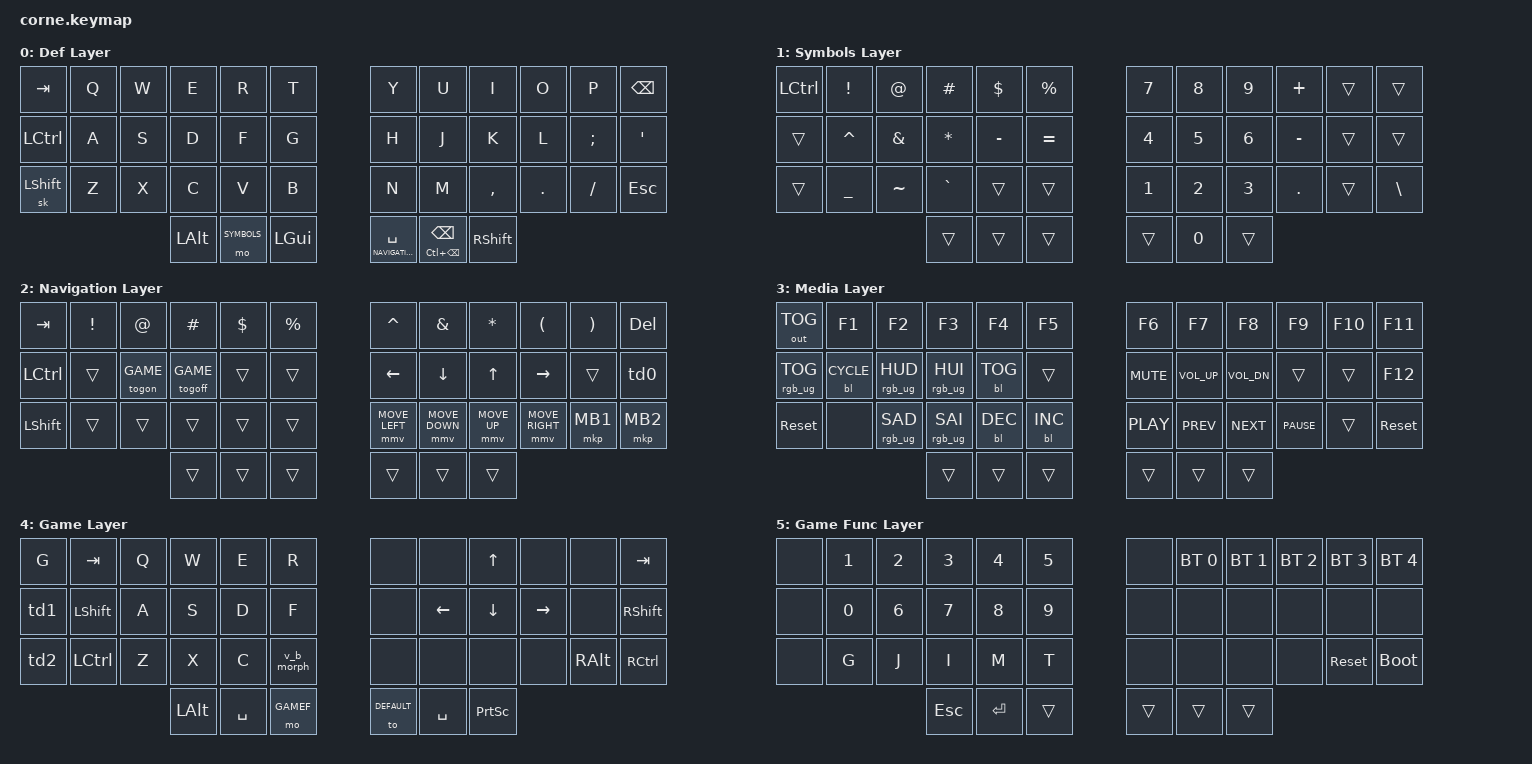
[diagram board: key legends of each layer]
/*
 * Copyright (c) 2020 The ZMK Contributors
 *
 * SPDX-License-Identifier: MIT
 */

#include <dt-bindings/led/led.h>
#include <dt-bindings/zmk/reset.h>
#include <behaviors.dtsi>
#include <dt-bindings/zmk/backlight.h>
#include <dt-bindings/zmk/bt.h>
#include <dt-bindings/zmk/keys.h>
#include <dt-bindings/zmk/outputs.h>
#include <dt-bindings/zmk/pointing.h>
#include <dt-bindings/zmk/rgb.h>

#define DEFAULT 0
#define SYMBOLS   1
#define NAVIGATION   2
#define MEDIA 3
#define GAME 4
#define GAMEF 5

/ {
    behaviors {
        lalt_bspc: lalt_bspc {
            compatible = "zmk,behavior-macro";
            #binding-cells = <0>;
            bindings =
                <&macro_press>,
                <&kp LALT>,
                <&macro_tap>,
                <&kp BSPC>,
                <&macro_release>,
                <&kp LALT>;
        };

        v_b_morph: v_b_morph {
            compatible = "zmk,behavior-mod-morph";
            #binding-cells = <0>;
            mods = <(MOD_LCTL|MOD_LSFT|MOD_LALT|MOD_LGUI)>;
            bindings = <&kp B>, <&kp V>;
        };

        td0: tap_dance_home_end {
            compatible = "zmk,behavior-tap-dance";
            #binding-cells = <0>;
            tapping-term-ms = <200>;
            bindings = <&kp HOME>, <&kp END>;
        };

        td1: tap_dance_3_1 {
            compatible = "zmk,behavior-tap-dance";
            #binding-cells = <0>;
            tapping-term-ms = <200>;
            bindings = <&kp N3>, <&kp N1>;
        };

        td2: tap_dance_4_5 {
            compatible = "zmk,behavior-tap-dance";
            #binding-cells = <0>;
            tapping-term-ms = <200>;
            bindings = <&kp N4>, <&kp N5>;
        };

        togon: toggle_layer_on_only {
            compatible = "zmk,behavior-toggle-layer";
            #binding-cells = <1>;
            display-name = "Toggle Layer On";
            toggle-mode = "on";
        };

        togoff: toggle_layer_off_only {
            compatible = "zmk,behavior-toggle-layer";
            #binding-cells = <1>;
            display-name = "Toggle Layer On";
            toggle-mode = "off";
        };

        lt: layer_tap {
            compatible = "zmk,behavior-hold-tap";
            #binding-cells = <2>;
            flavor = "tap-preferred";
            tapping-term-ms = <200>;
            bindings = <&mo>, <&kp>;

            display-name = "Layer-Tap";
        };
    };

    combos {
        compatible = "zmk,combos";

        combo_lpar {
            timeout-ms = <50>;
            key-positions = <4 5>;
            bindings = <&kp LPAR>;
        };

        combo_lbkt {
            timeout-ms = <50>;
            key-positions = <16 17>;
            bindings = <&kp LBKT>;
        };

        combo_lbrc {
            timeout-ms = <50>;
            key-positions = <28 29>;
            bindings = <&kp LBRC>;
        };

        combo_rpar {
            timeout-ms = <50>;
            key-positions = <6 7>;
            bindings = <&kp RPAR>;
        };

        combo_rbkt {
            timeout-ms = <50>;
            key-positions = <18 19>;
            bindings = <&kp RBKT>;
        };

        combo_rbrc {
            timeout-ms = <50>;
            key-positions = <30 31>;
            bindings = <&kp RBRC>;
        };

        combo_esc {
            timeout-ms = <50>;
            key-positions = <19 20>;
            bindings = <&kp ESC>;
        };

        combo_tilde {
            timeout-ms = <50>;
            key-positions = <21 22>;
            bindings = <&kp TILDE>;
        };

        combo_bslh {
            timeout-ms = <50>;
            key-positions = <33 34>;
            bindings = <&kp BSLH>;
        };

        combo_grave {
            timeout-ms = <50>;
            key-positions = <22 23>;
            bindings = <&kp GRAVE>;
        };

        combo_pipe {
            timeout-ms = <50>;
            key-positions = <34 35>;
            bindings = <&kp PIPE>;
        };

        combo_lalt_bspc {
            timeout-ms = <50>;
            key-positions = <11 23>;
            bindings = <&lalt_bspc>;
        };

        combo_gameLayer {
            timeout-ms = <50>;
            key-positions = <23 35>;
            bindings = <&togon GAME>;
        };
    };

    macros {
    };

    keymap {
        compatible = "zmk,keymap";

        default_layer {
            display-name = "Def Layer";

            // -----------------------------------------------------------------------------------------
            // |  TAB |  Q  |  W  |  E  |  R  |  T  |   |  Y  |  U   |  I  |  O  |  P  | BSPC |
            // | CTRL |  A  |  S  |  D  |  F  |  G  |   |  H  |  J   |  K  |  L  |  ;  |  '   |
            // | SHFT |  Z  |  X  |  C  |  V  |  B  |   |  N  |  M   |  ,  |  .  |  /  | ESC  |
            //                    | LALT | L1 | LGUI |   | L2 SPC | LCTL BSPC  | RSFT |

            bindings = <
&kp TAB    &kp Q  &kp W  &kp E     &kp R        &kp T       &kp Y                 &kp U                   &kp I      &kp O    &kp P     &kp BSPC
&kp LCTRL  &kp A  &kp S  &kp D     &kp F        &kp G       &kp H                 &kp J                   &kp K      &kp L    &kp SEMI  &kp SQT
&sk LSHFT  &kp Z  &kp X  &kp C     &kp V        &kp B       &kp N                 &kp M                   &kp COMMA  &kp DOT  &kp FSLH  &kp ESC
                         &kp LALT  &mo SYMBOLS  &kp LGUI    &lt NAVIGATION SPACE  &mt LC(BACKSPACE) BSPC  &kp RSHFT
            >;
        };

        symbols_layer {
            display-name = "Symbols Layer";

            // -----------------------------------------------------------------------------------------
            // | LCTL | ! | @ | # | $ | % |   |  7  |  8  |  9  |  +  |     |      |
            // |      | ^ | & | * | - | = |   |  4  |  5  |  6  |  -  |     |      |
            // |      | _ | ~ | ` |   |   |   |  1  |  2  |  3  |  .  |     |   \  |
            //                    |   |   |   |     |  0  |     |     |

            bindings = <
&kp LCTRL  &kp EXCL   &kp AT     &kp HASH   &kp DLLR   &kp PRCNT    &kp N7  &kp N8  &kp N9  &kp PLUS   &trans  &trans
&trans     &kp CARET  &kp AMPS   &kp ASTRK  &kp MINUS  &kp EQUAL    &kp N4  &kp N5  &kp N6  &kp MINUS  &trans  &trans
&trans     &kp UNDER  &kp TILDE  &kp GRAVE  &trans     &trans       &kp N1  &kp N2  &kp N3  &kp DOT    &trans  &kp BSLH
                                 &trans     &trans     &trans       &trans  &kp N0  &trans
            >;
        };

        navigation_layer {
            display-name = "Navigation Layer";

            // -----------------------------------------------------------------------------------------
            // |  TAB |  !  |  @  |  #  |  $  |  %  |   |  Ctl+Sft+TAB  |  Ctl+TAB  |  Gui+LEFT  |  Gui+RGHT  |         | DEL |
            // | CTRL |     | game on | game off |     |     |   |      LEFT     |    DOWN   |      UP    |    RGHT    |         |  td0 Home End  |
            // | SHFT |     |     |     |     |     |   |    MS LEFT    |  MS DOWN  |    MS UP   |   MS RGTH  | MS BTN1 |  MS BTN2   |
            //                    |     |     |     |   |     |     |     |

            bindings = <
&kp TAB    &kp EXCL  &kp AT       &kp HASH      &kp DLLR  &kp PRCNT    &kp CARET       &kp AMPS        &kp ASTRK     &kp LPAR         &kp RPAR  &kp DEL
&kp LCTRL  &trans    &togon GAME  &togoff GAME  &trans    &trans       &kp LEFT        &kp DOWN        &kp UP        &kp RIGHT        &trans    &td0
&kp LSHFT  &trans    &trans       &trans        &trans    &trans       &mmv MOVE_LEFT  &mmv MOVE_DOWN  &mmv MOVE_UP  &mmv MOVE_RIGHT  &mkp MB1  &mkp MB2
                                  &trans        &trans    &trans       &trans          &trans          &trans
            >;
        };

        media_layer {
            display-name = "Media Layer";

            // -----------------------------------------------------------------------------------------
            // | OUT TOG |     F1     |     F2     |     F3     |  F4  |  F5  |     |  F6  |  F7  |  F8 | F9  | F10  |   F11   |
            // | RGB TOG |  RGB HUI   |  RGB SAI   |  RGB VAI   |BL_TOG|      |     | MUTE | VOL+ | VOL-|     |      |   F12   |
            // | zmk boot|  RGB HUD   |  RGB SAD   |  RGB VAD   |BL_DEC|BL_INC|     | MPLAY| MPRV | MNXT| MSTP|      | zmk boot|
            //                    			|     |     |      | 		|     |     |     |

            bindings = <
&out OUT_TOG     &kp F1        &kp F2           &kp F3           &kp F4      &kp F5        &kp F6      &kp F7        &kp F8        &kp F9       &kp F10  &kp F11
&rgb_ug RGB_TOG  &bl BL_CYCLE  &rgb_ug RGB_HUD  &rgb_ug RGB_HUI  &bl BL_TOG  &trans        &kp C_MUTE  &kp C_VOL_UP  &kp C_VOL_DN  &trans       &trans   &kp F12
&sys_reset       &none         &rgb_ug RGB_SAD  &rgb_ug RGB_SAI  &bl BL_DEC  &bl BL_INC    &kp C_PLAY  &kp C_PREV    &kp C_NEXT    &kp C_PAUSE  &trans   &sys_reset
                                                &trans           &trans      &trans        &trans      &trans        &trans
            >;
        };

        game_layer {
            display-name = "Game Layer";

            // -----------------------------------------------------------------------------------------
            // | G |  tab |  Q  |  W  |  E   |   R   |    	|   |          |    Up   |                |      |   Tab   |
            // | 3\1| shift|  A  |  S  |  D   |   F   |   	|   | Left | Down | Right     |      |  Shift   |
            // | 5\4 | cltl |  Z  |  X  |  C   |   V   |   	   |   |        |              |                |      | rctl |
            //     | LALT | SPACE | gm func  |          | 1  | space   | Pr.Scr  |

            bindings = <
&kp G  &kp TAB     &kp Q  &kp W     &kp E      &kp R         &none        &none      &kp UP     &none      &none     &kp TAB
&td1   &kp LSHIFT  &kp A  &kp S     &kp D      &kp F         &none        &kp LEFT   &kp DOWN   &kp RIGHT  &none     &kp RSHIFT
&td2   &kp LCTRL   &kp Z  &kp X     &kp C      &v_b_morph    &none        &none      &none      &none      &kp RALT  &kp RCTRL
                          &kp LALT  &kp SPACE  &mo GAMEF     &to DEFAULT  &kp SPACE  &kp PSCRN
            >;
        };

        game_func_layer {
            display-name = "Game Func Layer";

            // -----------------------------------------------------------------------------------------
            // |    |  1 |  2  |  3  |  4   |   5   |    	|   |bt 0|bt 1|bt2|bt3| bt4   |
            // |    | 0  |  6  |  7  |  8   |   9   |   	|   |        |       |       |      |          |
            // |     | G |  J  |  I  |  M   |   T   |   	|   |        |       |       |      |  rctl  |
            //     | ESC | ENTER | gmfnc  |          | 1  | space   | Pr.Scr  |

            bindings = <
&none  &kp N1  &kp N2  &kp N3   &kp N4   &kp N5    &none   &bt BT_SEL 0  &bt BT_SEL 1  &bt BT_SEL 2  &bt BT_SEL 3  &bt BT_SEL 4
&none  &kp N0  &kp N6  &kp N7   &kp N8   &kp N9    &none   &none         &none         &none         &none         &none
&none  &kp G   &kp J   &kp I    &kp M    &kp T     &none   &none         &none         &none         &sys_reset    &bootloader
                       &kp ESC  &kp RET  &trans    &trans  &trans        &trans
            >;
        };
    };

    conditional_layers {
        compatible = "zmk,conditional-layers";

        Media_Ativate {
            if-layers = <1 2>;
            then-layer = <3>;
        };
    };
};
